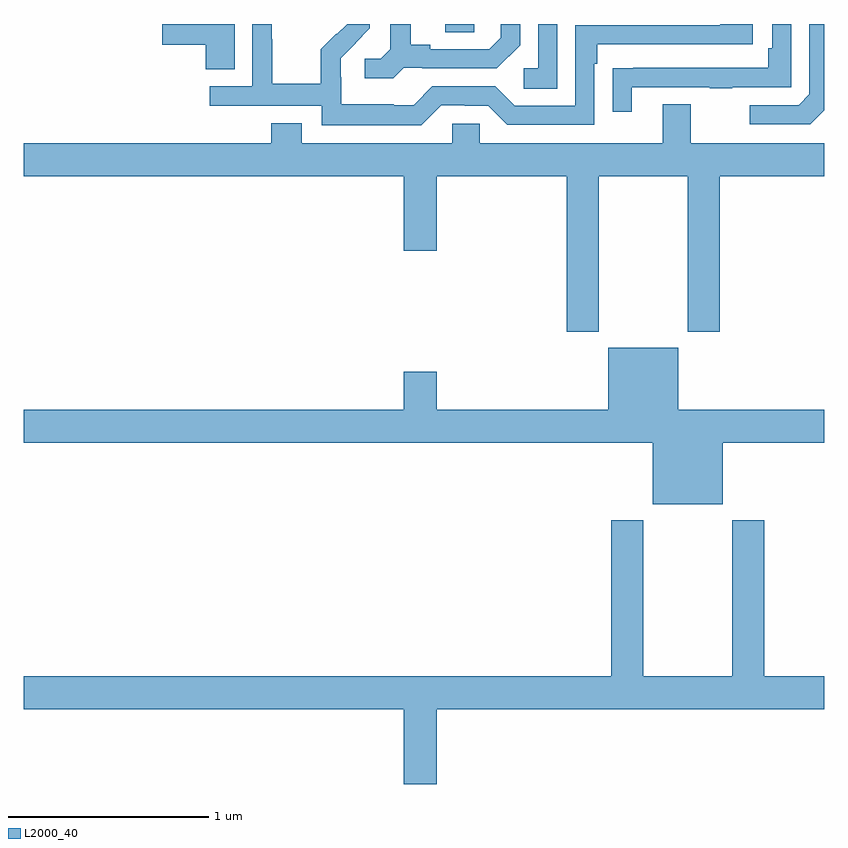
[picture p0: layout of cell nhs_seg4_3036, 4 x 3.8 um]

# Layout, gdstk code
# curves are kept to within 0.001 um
import gdstk
lib = gdstk.Library(unit=1e-6, precision=1e-09)
def R(c, l, rs):  # rectangles x0, y0, x1, y1
    for r in rs: c.add(gdstk.rectangle(r[:2], r[2:], *l))
def P(c, l, *ps):  # polygons
    for p in ps: c.add(gdstk.Polygon(p, *l))
L2000_40 = (2000, 40)

nhs_seg4_3036 = lib.new_cell('nhs_seg4_3036')
R(nhs_seg4_3036, L2000_40, [(273.107,810.859,273.252,810.9)])
P(nhs_seg4_3036, L2000_40, [(273.087,810.495),(273.203,810.495),(273.203,810.492),(273.321,810.492),(273.417,810.396),(273.852,810.396),(273.852,810.701),(273.865,810.701),(273.865,810.798),(274.642,810.798),(274.642,810.9),(274.481,810.9),(274.481,810.894),(273.756,810.894),(273.756,810.492),(273.453,810.492),(273.357,810.588),(273.042,810.588),(272.949,810.495),(272.849,810.495),(272.849,810.499),(272.586,810.499),(272.586,810.633),(272.584,810.633),(272.584,810.73),(272.73,810.878),(272.73,810.9),(272.616,810.9),(272.565,810.849),(272.562,810.852),(272.485,810.775),(272.485,810.601),(272.241,810.601),(272.241,810.824),(272.238,810.824),(272.238,810.9),(272.142,810.9),(272.142,810.588),(271.929,810.588),(271.929,810.492),(272.49,810.492),(272.49,810.395),(272.987,810.395)],
  [(272.053,810.9),(271.692,810.9),(271.692,810.797),(271.91,810.797),(271.91,810.673),(272.053,810.673)],
  [(275,810.47),(275,810.9),(274.926,810.9),(274.926,810.549),(274.872,810.495),(274.629,810.495),(274.629,810.399),(274.929,810.399)],
  [(274.039,810.585),(274.429,810.585),(274.429,810.58),(274.541,810.58),(274.541,810.585),(274.836,810.585),(274.836,810.9),(274.74,810.9),(274.74,810.778),(274.72,810.778),(274.72,810.681),(274.045,810.681),(274.045,810.68),(273.943,810.68),(273.943,810.462),(274.039,810.462)],
  [(272.898,810.681),(272.992,810.681),(272.992,810.678),(273.364,810.678),(273.48,810.794),(273.48,810.9),(273.383,810.9),(273.383,810.831),(273.326,810.774),(273.031,810.774),(273.031,810.797),(272.935,810.797),(272.935,810.9),(272.831,810.9),(272.831,810.773),(272.784,810.726),(272.703,810.726),(272.703,810.629),(272.846,810.629)],
  [(273.666,810.9),(273.57,810.9),(273.57,810.678),(273.498,810.678),(273.498,810.577),(273.666,810.577)],
  [(273.873,810.14),(274.318,810.14),(274.318,809.361),(274.478,809.361),(274.478,810.14),(275,810.14),(275,810.304),(274.333,810.304),(274.333,810.499),(274.193,810.499),(274.193,810.304),(273.279,810.304),(273.279,810.402),(273.141,810.402),(273.141,810.304),(272.389,810.304),(272.389,810.403),(272.237,810.403),(272.237,810.304),(271,810.304),(271,810.14),(272.9,810.14),(272.9,809.766),(273.064,809.766),(273.064,810.14),(273.713,810.14),(273.713,809.361),(273.873,809.361)],
  [(274.492,808.808),(275,808.808),(275,808.972),(274.27,808.972),(274.27,809.281),(273.92,809.281),(273.92,808.972),(273.064,808.972),(273.064,809.161),(272.9,809.161),(272.9,808.972),(271,808.972),(271,808.808),(274.142,808.808),(274.142,808.499),(274.492,808.499)],
  [(273.064,807.476),(275,807.476),(275,807.64),(274.7,807.64),(274.7,808.42),(274.54,808.42),(274.54,807.64),(274.095,807.64),(274.095,808.42),(273.935,808.42),(273.935,807.64),(271,807.64),(271,807.476),(272.9,807.476),(272.9,807.102),(273.064,807.102)])

lib.write_gds('nhs_seg4_3036.gds')
